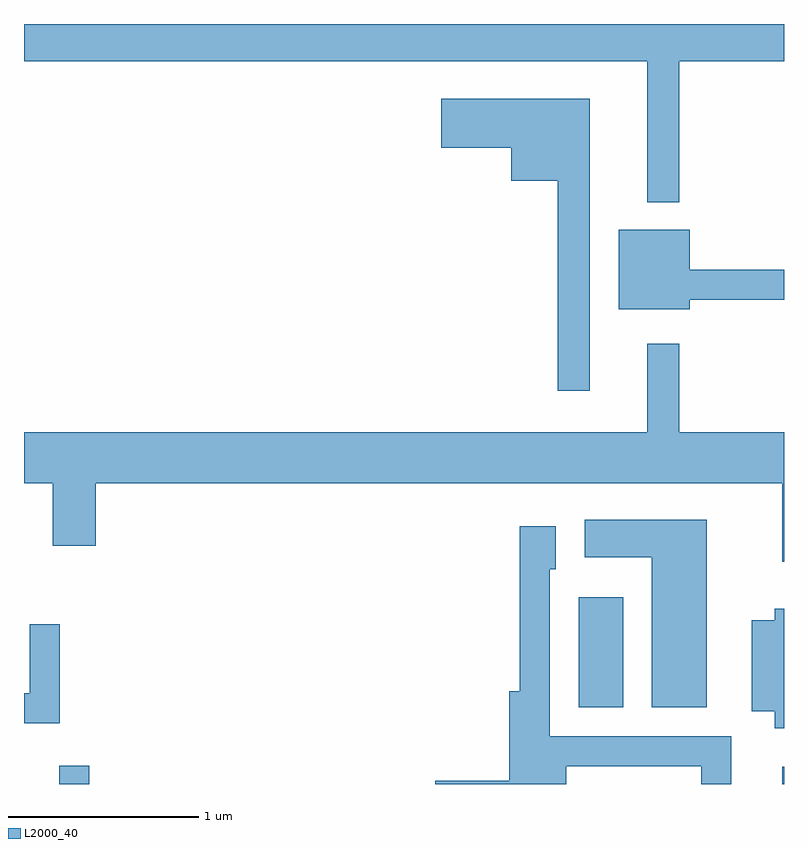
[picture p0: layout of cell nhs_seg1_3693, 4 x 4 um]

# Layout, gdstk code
import gdstk
lib = gdstk.Library(unit=1e-6, precision=1e-09)
def R(c, l, rs):  # rectangles x0, y0, x1, y1
    for r in rs: c.add(gdstk.rectangle(r[:2], r[2:], *l))
def P(c, l, *ps):  # polygons
    for p in ps: c.add(gdstk.Polygon(p, *l))
L2000_40 = (2000, 40)

nhs_seg1_3693 = lib.new_cell('nhs_seg1_3693')
R(nhs_seg1_3693, L2000_40, [(295.796,955.712,295.954,955.808), (299.601,955.712,299.611,955.804), (298.531,956.116,298.764,956.694)])
P(nhs_seg1_3693, L2000_40, [(299.059,959.516),(299.611,959.516),(299.611,959.712),(295.611,959.712),(295.611,959.516),(298.891,959.516),(298.891,958.773),(299.059,958.773)],
  [(298.589,959.319),(297.806,959.319),(297.806,959.061),(298.176,959.061),(298.176,958.886),(298.421,958.886),(298.421,957.783),(298.589,957.783)],
  [(299.114,958.261),(299.611,958.261),(299.611,958.419),(299.114,958.419),(299.114,958.629),(298.741,958.629),(298.741,958.211),(299.114,958.211)],
  [(299.611,957.564),(299.059,957.564),(299.059,958.028),(298.891,958.028),(298.891,957.564),(295.611,957.564),(295.611,957.296),(295.761,957.296),(295.761,956.966),(295.989,956.966),(295.989,957.296),(299.601,957.296),(299.601,956.881),(299.611,956.881)],
  [(299.204,957.104),(298.561,957.104),(298.561,956.906),(298.916,956.906),(298.916,956.116),(299.204,956.116)],
  [(298.464,955.806),(299.176,955.806),(299.176,955.712),(299.334,955.712),(299.334,955.964),(298.379,955.964),(298.379,956.841),(298.409,956.841),(298.409,957.069),(298.221,957.069),(298.221,956.199),(298.166,956.199),(298.166,955.729),(297.776,955.729),(297.776,955.712),(298.464,955.712)],
  [(299.611,956.634),(299.561,956.634),(299.561,956.574),(299.441,956.574),(299.441,956.096),(299.561,956.096),(299.561,956.006),(299.611,956.006)],
  [(295.799,956.553),(295.641,956.553),(295.641,956.189),(295.611,956.189),(295.611,956.031),(295.799,956.031)])

lib.write_gds('nhs_seg1_3693.gds')
